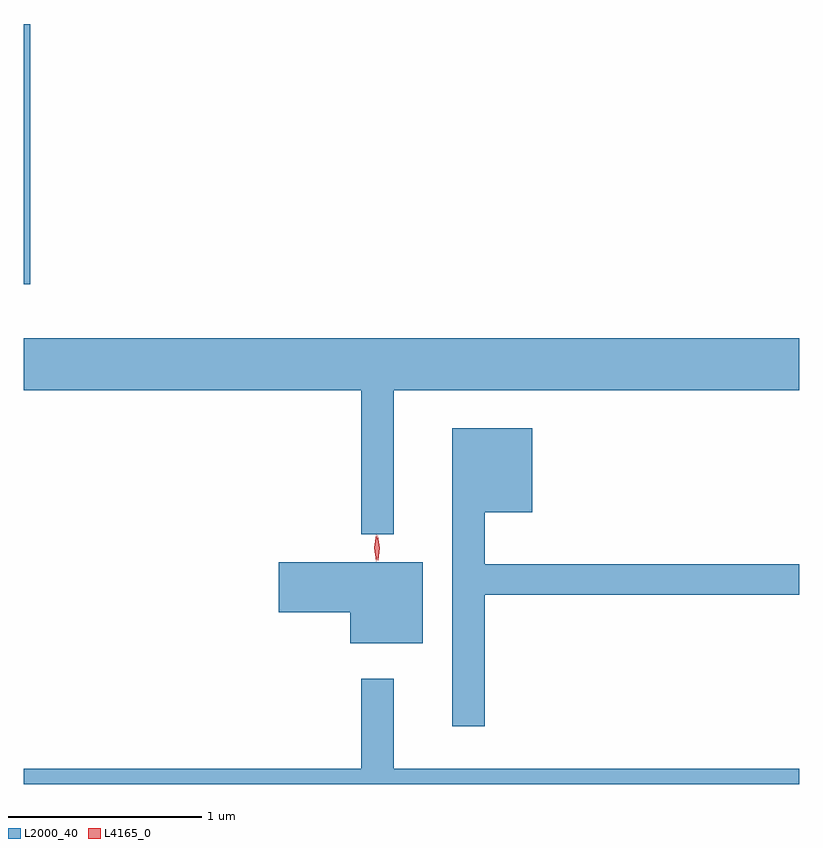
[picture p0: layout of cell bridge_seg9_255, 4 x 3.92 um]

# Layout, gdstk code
import gdstk
lib = gdstk.Library(unit=1e-6, precision=1e-09)
def R(c, l, rs):  # rectangles x0, y0, x1, y1
    for r in rs: c.add(gdstk.rectangle(r[:2], r[2:], *l))
def P(c, l, *ps):  # polygons
    for p in ps: c.add(gdstk.Polygon(p, *l))
L2000_40 = (2000, 40)
L4165_0 = (4165, 0)

bridge_seg9_255 = lib.new_cell('bridge_seg9_255')
R(bridge_seg9_255, L2000_40, [(935.111,2052.301,935.144,2053.644)])
P(bridge_seg9_255, L2000_40, [(937.019,2051.756),(939.111,2051.756),(939.111,2052.024),(935.111,2052.024),(935.111,2051.756),(936.851,2051.756),(936.851,2051.012),(937.019,2051.012)],
  [(937.489,2050.701),(939.111,2050.701),(939.111,2050.859),(937.489,2050.859),(937.489,2051.126),(937.734,2051.126),(937.734,2051.559),(937.321,2051.559),(937.321,2050.023),(937.489,2050.023)],
  [(937.169,2050.869),(936.426,2050.869),(936.426,2050.611),(936.796,2050.611),(936.796,2050.451),(937.169,2050.451)],
  [(939.111,2049.804),(937.019,2049.804),(937.019,2050.268),(936.851,2050.268),(936.851,2049.804),(935.111,2049.804),(935.111,2049.725),(939.111,2049.725)])
P(bridge_seg9_255, L4165_0, [(936.928,2050.874),(936.928,2050.874),(936.919,2050.942),(936.93,2051.01),(936.93,2051.01),(936.93,2051.01),(936.939,2050.942),(936.929,2050.874)],
  [(936.938,2050.88),(936.938,2050.88),(936.928,2050.943),(936.937,2051.006),(936.938,2051.007),(936.938,2051.006),(936.948,2050.943),(936.939,2050.88)])

lib.write_gds('bridge_seg9_255.gds')
